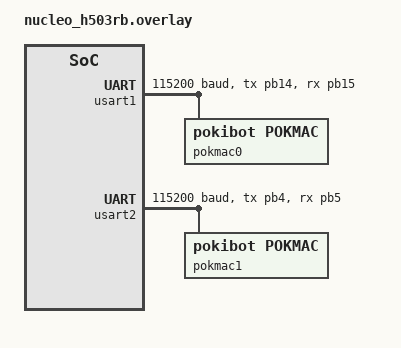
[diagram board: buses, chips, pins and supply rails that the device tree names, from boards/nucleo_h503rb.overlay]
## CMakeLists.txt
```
cmake_minimum_required(VERSION 3.20.0)

find_package(Zephyr REQUIRED HINTS $ENV{ZEPHYR_BASE})
project(test_pokmac)

target_include_directories(app PRIVATE src)

file(GLOB_RECURSE APP_SOURCES src/*.c)

target_sources(app PRIVATE ${APP_SOURCES})
```

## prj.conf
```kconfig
# SERIAL
CONFIG_SERIAL=y
CONFIG_LOG=y
CONFIG_UART_INTERRUPT_DRIVEN=y

CONFIG_LOG_MODE_DEFERRED=y
CONFIG_LOG_BACKEND_SHOW_COLOR=y
CONFIG_LOG_DEFAULT_LEVEL=3

CONFIG_POKMAC=y

CONFIG_CBPRINTF_COMPLETE=y
CONFIG_CBPRINTF_FP_SUPPORT=y
```

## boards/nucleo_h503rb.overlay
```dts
/ {
    aliases {
        uart0 = &usart1;
        uart1 = &usart2;
    };
};

usart1: &usart1 {
	status = "okay";
	pinctrl-0 = <&usart1_tx_pb14 &usart1_rx_pb15>;
	pinctrl-names = "default";
	current-speed = <115200>;
    pokmac0: pokmac0 {
        compatible = "pokibot,pokmac";
        status = "okay";
    };
};

&usart2 {
	status = "okay";
	pinctrl-0 = <&usart2_tx_pb4 &usart2_rx_pb5>;
	pinctrl-names = "default";
	current-speed = <115200>;
    pokmac1: pokmac1 {
        compatible = "pokibot,pokmac";
        status = "okay";
    };
};
```

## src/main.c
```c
#include <zephyr/kernel.h>
#include <zephyr/logging/log.h>
#include <pokibot/drivers/pokmac.h>
#include <zephyr/drivers/uart.h>

LOG_MODULE_REGISTER(main);

const struct device *uart1 = DEVICE_DT_GET(DT_ALIAS(uart1));
const struct device *pokmac0 = DEVICE_DT_GET(DT_NODELABEL(pokmac0));
const struct device *pokmac1 = DEVICE_DT_GET(DT_NODELABEL(pokmac1));


void clbk0(uint8_t *payload_data, size_t payload_size)
{
    LOG_HEXDUMP_INF(payload_data, payload_size, "0: recv payload");
}

struct pokmac_recv_callback clbk0_struct = {.cb = clbk0};

int main(void)
{
    pokmac_register_recv_callback(pokmac0, &clbk0_struct);
    char msg[] = "HI!";
    LOG_INF("Sending msg unconfirmed");
    if (pokmac_send(pokmac1, msg, sizeof(msg), false)) {
        LOG_ERR("Error while sending message");
        return -1;
    }

    LOG_INF("Sending msg confirmed");
    if (pokmac_send(pokmac1, msg, sizeof(msg), true)) {
        LOG_ERR("Error while sending message");
        return -1;
    } else {
        LOG_INF("Sending msg confirmed OK");
    }

    LOG_INF("Messing up the uart by sending random bytes");
    uart_poll_out(uart1, 0xDE);
    uart_poll_out(uart1, 0xAD);
    uart_poll_out(uart1, 9);
    uart_poll_out(uart1, 9);

    LOG_INF("Sending msg confirmed");
    if (pokmac_send(pokmac1, msg, sizeof(msg), true)) {
        LOG_ERR("Error while sending message as expected");
    } else {
        LOG_INF("Sending msg confirmed OK");
    }
    k_sleep(K_MSEC(10));

    LOG_INF("Sending msg confirmed");
    if (pokmac_send(pokmac1, msg, sizeof(msg), true)) {
        LOG_ERR("Error while sending message");
        return -1;
    } else {
        LOG_INF("Sending msg confirmed OK");
    }
    return 0;
}
```
